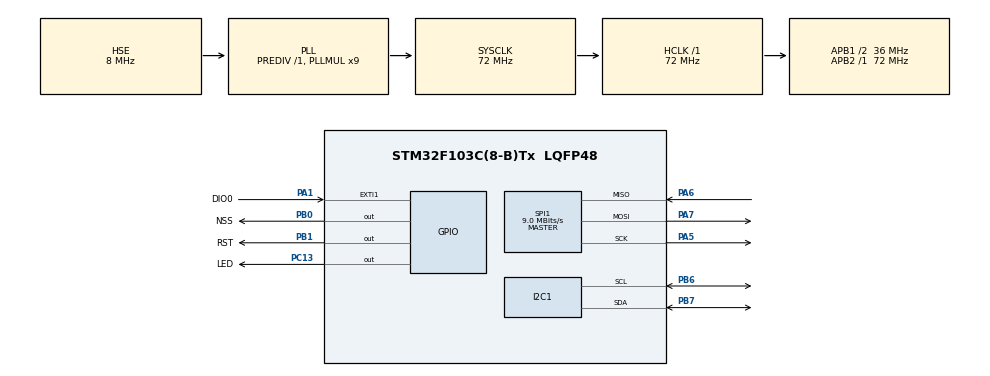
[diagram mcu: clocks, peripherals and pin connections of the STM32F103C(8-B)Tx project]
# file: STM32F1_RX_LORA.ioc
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Mcu.Family=STM32F1
Mcu.Name=STM32F103C(8-B)Tx
Mcu.Package=LQFP48
NVIC.PriorityGroup=NVIC_PRIORITYGROUP_4
PA1.GPIO_Label=DIO0
PA1.Signal=GPXTI1
PA13.Mode=Serial_Wire
PA13.Signal=SYS_JTMS-SWDIO
PA14.Mode=Serial_Wire
PA14.Signal=SYS_JTCK-SWCLK
PA5.Mode=Full_Duplex_Master
PA5.Signal=SPI1_SCK
PA6.Mode=Full_Duplex_Master
PA6.Signal=SPI1_MISO
PA7.Mode=Full_Duplex_Master
PA7.Signal=SPI1_MOSI
PB0.GPIO_Label=NSS
PB0.GPIO_PuPd=GPIO_NOPULL
PB0.PinState=GPIO_PIN_RESET
PB0.Signal=GPIO_Output
PB1.GPIO_Label=RST
PB1.PinState=GPIO_PIN_RESET
PB1.Signal=GPIO_Output
PB6.Mode=I2C
PB6.Signal=I2C1_SCL
PB7.Mode=I2C
PB7.Signal=I2C1_SDA
PC13-TAMPER-RTC.GPIO_Label=LED
PC13-TAMPER-RTC.GPIO_PuPd=GPIO_PULLUP
PC13-TAMPER-RTC.Signal=GPIO_Output
PD0-OSC_IN.Mode=HSE-External-Oscillator
PD0-OSC_IN.Signal=RCC_OSC_IN
PD1-OSC_OUT.Mode=HSE-External-Oscillator
PD1-OSC_OUT.Signal=RCC_OSC_OUT
ProjectManager.HeapSize=0x200
ProjectManager.StackSize=0x400
ProjectManager.TargetToolchain=STM32CubeIDE
RCC.AHBFreq_Value=72000000
RCC.APB1CLKDivider=RCC_HCLK_DIV2
RCC.APB1Freq_Value=36000000
RCC.APB1TimFreq_Value=72000000
RCC.APB2Freq_Value=72000000
RCC.APB2TimFreq_Value=72000000
RCC.HCLKFreq_Value=72000000
RCC.PLLMUL=RCC_PLL_MUL9
RCC.PLLSourceVirtual=RCC_PLLSOURCE_HSE
RCC.SYSCLKFreq_VALUE=72000000
RCC.SYSCLKSource=RCC_SYSCLKSOURCE_PLLCLK
RCC.USBFreq_Value=72000000
SPI1.BaudRatePrescaler=SPI_BAUDRATEPRESCALER_8
SPI1.CalculateBaudRate=9.0 MBits/s
SPI1.Direction=SPI_DIRECTION_2LINES
SPI1.Mode=SPI_MODE_MASTER
SPI1.VirtualType=VM_MASTER
board=custom

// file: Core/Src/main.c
/* USER CODE BEGIN Header */
/**
  ******************************************************************************
  * @file           : main.c
  * @brief          : Main program body – STM32F1 LoRa RECEIVER
  ******************************************************************************
  * @attention
  *
  * Copyright (c) 2026 STMicroelectronics.
  * All rights reserved.
  *
  * This software is licensed under terms that can be found in the LICENSE file
  * in the root directory of this software component.
  * If no LICENSE file comes with this software, it is provided AS-IS.
  *
  ******************************************************************************
  */
/* USER CODE END Header */
#include <stdio.h>
#include <string.h>
#include "main.h"

#include "i2c-lcd.h"
#include "LoRa_Frame.h"

I2C_HandleTypeDef hi2c1;

SPI_HandleTypeDef hspi1;

void SystemClock_Config(void);
static void MX_GPIO_Init(void);
static void MX_I2C1_Init(void);
static void MX_SPI1_Init(void);

int main(void)
{

  /* MCU Configuration--------------------------------------------------------*/

  /* Reset of all peripherals, Initializes the Flash interface and the Systick. */
  HAL_Init();

  /* Configure the system clock */
  SystemClock_Config();

  /* Initialize all configured peripherals */
  MX_GPIO_Init();
  MX_I2C1_Init();
  MX_SPI1_Init();
  /* USER CODE BEGIN 2 */

  lcd_init();

  /* Dòng 1 LCD: tiêu đề cố định */
  lcd_goto_XY(0, 0);
  lcd_send_string("=== RX_LORA ===");

  if (!Lora_Init(&hspi1,
                NSS_GPIO_Port, NSS_Pin,
                RST_GPIO_Port, RST_Pin,
                DIO0_GPIO_Port, DIO0_Pin))
  {
	 lcd_goto_XY(1, 0);
     lcd_send_string("[LORA]: INIT_FAIL");
  }

  lcd_goto_XY(1, 0);
  lcd_send_string("[LORA]: INIT_OK");

  HAL_Delay(1000);

  /* Hiển thị trạng thái sẵn sàng nhận */
  lcd_goto_XY(0, 0);
  lcd_send_string("Waiting.........");
  lcd_goto_XY(1, 0);
  lcd_send_string("Cnt:0    RSSI:- ");

  /* USER CODE BEGIN 3 */
  while (1)
  {
	  lora_frame_t rx_frame;

	  // Call the custom function to check for a valid incoming packet
	  if (LoRa_Read_Frame(&rx_frame) == 1)
	  {
		  // Shared buffer for formatting LCD display lines
		  char lcd_line[50];

		  // Line 1: Device ID, Data Type, and Battery Percentage
		  lcd_goto_XY(0, 0);
		  lcd_send_string("                    ");
		  snprintf(lcd_line, sizeof(lcd_line), "ID:%02X TYPE_DATA:%02X", rx_frame.id_device, rx_frame.type_data);
		  lcd_goto_XY(0, 0);
		  lcd_send_string(lcd_line);

		  // Line 2: Latitude and RSSI
		  lcd_goto_XY(1, 0);
		  lcd_send_string("                    ");
		  snprintf(lcd_line, sizeof(lcd_line), "LA:%-9.4f R:%-5d",
				   rx_frame.gps.lat, rssi);
		  lcd_goto_XY(1, 0);
		  lcd_send_string(lcd_line);

		  // Line 3: Longitude
		  lcd_goto_XY(2, 0);
		  lcd_send_string("                    ");
		  snprintf(lcd_line, sizeof(lcd_line), "LN:%-9.4f",
				   rx_frame.gps.lng);
		  lcd_goto_XY(2, 0);
		  lcd_send_string(lcd_line);

		  // Line 4: Temperature, Humidity, and Total Valid Received Packets
		  lcd_goto_XY(3, 0);
		  lcd_send_string("                    ");
		  snprintf(lcd_line, sizeof(lcd_line), "T:%2dC H:%2d%% BAT:%3d%%", rx_frame.sensor.temp, rx_frame.sensor.humi, rx_frame.batt);
		  lcd_goto_XY(3, 0);
		  lcd_send_string(lcd_line);

		  // Toggle LED to indicate successful data processing
		  HAL_GPIO_TogglePin(LED_GPIO_Port, LED_Pin);
	  }

	  // Polling interval delay for the receiver loop (10ms)
	  HAL_Delay(10);
  }
  /* USER CODE END 3 */
}

void SystemClock_Config(void)
{
  RCC_OscInitTypeDef RCC_OscInitStruct = {0};
  RCC_ClkInitTypeDef RCC_ClkInitStruct = {0};

  /** Initializes the RCC Oscillators according to the specified parameters
  * in the RCC_OscInitTypeDef structure.
  */
  RCC_OscInitStruct.OscillatorType = RCC_OSCILLATORTYPE_HSE;
  RCC_OscInitStruct.HSEState = RCC_HSE_ON;
  RCC_OscInitStruct.HSEPredivValue = RCC_HSE_PREDIV_DIV1;
  RCC_OscInitStruct.HSIState = RCC_HSI_ON;
  RCC_OscInitStruct.PLL.PLLState = RCC_PLL_ON;
  RCC_OscInitStruct.PLL.PLLSource = RCC_PLLSOURCE_HSE;
  RCC_OscInitStruct.PLL.PLLMUL = RCC_PLL_MUL9;
  if (HAL_RCC_OscConfig(&RCC_OscInitStruct) != HAL_OK)
  {
    Error_Handler();
  }

  /** Initializes the CPU, AHB and APB buses clocks
  */
  RCC_ClkInitStruct.ClockType = RCC_CLOCKTYPE_HCLK|RCC_CLOCKTYPE_SYSCLK
                              |RCC_CLOCKTYPE_PCLK1|RCC_CLOCKTYPE_PCLK2;
  RCC_ClkInitStruct.SYSCLKSource = RCC_SYSCLKSOURCE_PLLCLK;
  RCC_ClkInitStruct.AHBCLKDivider = RCC_SYSCLK_DIV1;
  RCC_ClkInitStruct.APB1CLKDivider = RCC_HCLK_DIV2;
  RCC_ClkInitStruct.APB2CLKDivider = RCC_HCLK_DIV1;

  if (HAL_RCC_ClockConfig(&RCC_ClkInitStruct, FLASH_LATENCY_2) != HAL_OK)
  {
    Error_Handler();
  }
}

static void MX_I2C1_Init(void)
{

  hi2c1.Instance = I2C1;
  hi2c1.Init.ClockSpeed = 100000;
  hi2c1.Init.DutyCycle = I2C_DUTYCYCLE_2;
  hi2c1.Init.OwnAddress1 = 0;
  hi2c1.Init.AddressingMode = I2C_ADDRESSINGMODE_7BIT;
  hi2c1.Init.DualAddressMode = I2C_DUALADDRESS_DISABLE;
  hi2c1.Init.OwnAddress2 = 0;
  hi2c1.Init.GeneralCallMode = I2C_GENERALCALL_DISABLE;
  hi2c1.Init.NoStretchMode = I2C_NOSTRETCH_DISABLE;
  if (HAL_I2C_Init(&hi2c1) != HAL_OK)
  {
    Error_Handler();
  }

}

static void MX_SPI1_Init(void)
{

  /* SPI1 parameter configuration*/
  hspi1.Instance = SPI1;
  hspi1.Init.Mode = SPI_MODE_MASTER;
  hspi1.Init.Direction = SPI_DIRECTION_2LINES;
  hspi1.Init.DataSize = SPI_DATASIZE_8BIT;
  hspi1.Init.CLKPolarity = SPI_POLARITY_LOW;
  hspi1.Init.CLKPhase = SPI_PHASE_1EDGE;
  hspi1.Init.NSS = SPI_NSS_SOFT;
  hspi1.Init.BaudRatePrescaler = SPI_BAUDRATEPRESCALER_8;
  hspi1.Init.FirstBit = SPI_FIRSTBIT_MSB;
  hspi1.Init.TIMode = SPI_TIMODE_DISABLE;
  hspi1.Init.CRCCalculation = SPI_CRCCALCULATION_DISABLE;
  hspi1.Init.CRCPolynomial = 10;
  if (HAL_SPI_Init(&hspi1) != HAL_OK)
  {
    Error_Handler();
  }

}

static void MX_GPIO_Init(void)
{
  GPIO_InitTypeDef GPIO_InitStruct = {0};

  /* GPIO Ports Clock Enable */
  __HAL_RCC_GPIOC_CLK_ENABLE();
  __HAL_RCC_GPIOD_CLK_ENABLE();
  __HAL_RCC_GPIOA_CLK_ENABLE();
  __HAL_RCC_GPIOB_CLK_ENABLE();

  /*Configure GPIO pin Output Level */
  HAL_GPIO_WritePin(LED_GPIO_Port, LED_Pin, GPIO_PIN_RESET);

  /*Configure GPIO pin Output Level */
  HAL_GPIO_WritePin(NSS_GPIO_Port, NSS_Pin, GPIO_PIN_SET);
  HAL_GPIO_WritePin(RST_GPIO_Port, RST_Pin, GPIO_PIN_SET);

  /*Configure GPIO pin : LED_Pin */
  GPIO_InitStruct.Pin = LED_Pin;
  GPIO_InitStruct.Mode = GPIO_MODE_OUTPUT_PP;
  GPIO_InitStruct.Pull = GPIO_PULLUP;
  GPIO_InitStruct.Speed = GPIO_SPEED_FREQ_LOW;
  HAL_GPIO_Init(LED_GPIO_Port, &GPIO_InitStruct);

  /*Configure GPIO pin : DIO0_Pin */
  GPIO_InitStruct.Pin = DIO0_Pin;
  GPIO_InitStruct.Mode = GPIO_MODE_IT_RISING;
  GPIO_InitStruct.Pull = GPIO_NOPULL;
  HAL_GPIO_Init(DIO0_GPIO_Port, &GPIO_InitStruct);

  /*Configure GPIO pins : NSS_Pin */
  GPIO_InitStruct.Pin = NSS_Pin;
  GPIO_InitStruct.Mode = GPIO_MODE_OUTPUT_PP;
  GPIO_InitStruct.Pull = GPIO_NOPULL;
  GPIO_InitStruct.Speed = GPIO_SPEED_FREQ_LOW;
  HAL_GPIO_Init(NSS_GPIO_Port, &GPIO_InitStruct);

  /*Configure GPIO pins : RST_Pin */
  GPIO_InitStruct.Pin = RST_Pin;
  GPIO_InitStruct.Mode = GPIO_MODE_OUTPUT_PP;
  GPIO_InitStruct.Pull = GPIO_NOPULL;
  GPIO_InitStruct.Speed = GPIO_SPEED_FREQ_LOW;
  HAL_GPIO_Init(RST_GPIO_Port, &GPIO_InitStruct);

}

/* USER CODE BEGIN 4 */
void HAL_GPIO_EXTI_Callback(uint16_t GPIO_Pin){

}
/* USER CODE END 4 */

void Error_Handler(void)
{
  __disable_irq();
  while (1)
  {
  }
}
